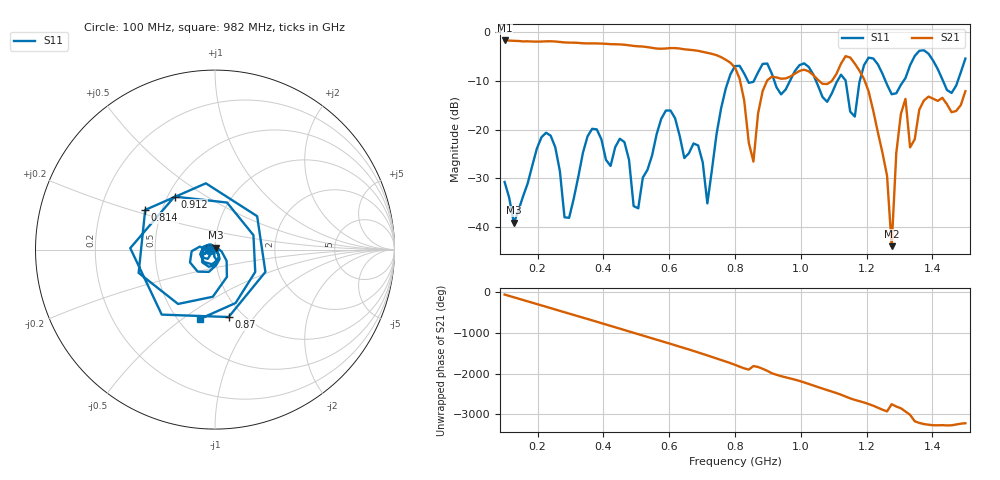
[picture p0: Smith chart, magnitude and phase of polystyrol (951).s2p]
! NanoVNA-App
! Date: 2025-09-25 15:37:17
! Start: 100MHz Stop: 1,5GHz Points: 101
! S-Parameter data: F S11 S21 S12 S22
# Hz S RI R 50
!  Frequency  S11_Real  S11_Imag  S21_Real  S21_Imag  S12_Real  S12_Imag  S22_Real  S22_Imag
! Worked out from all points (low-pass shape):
!   101 points, 100 MHz to 1.5 GHz, reference 50 ohm
!   highest |S21| = -1.80 dB at 100 MHz (marker M1); lowest = -43.8 dB at 1.276 GHz (marker M2)
!   |S21| within 3 dB of the highest: start of sweep to 743.2 MHz
!   lowest |S11| = -39.1 dB at 128 MHz (marker M3), VSWR 1.02, Z = 50.3 + j1.06 ohm
!   |S11| at or under -10 dB: start of sweep to 779.8 MHz; 1.046 GHz to 1.112 GHz (66.05 MHz wide, 6.12 % of centre); 1.257 GHz to 1.313 GHz (55.98 MHz wide, 4.36 % of centre)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
!   S12 and S22 are empty: the file has one direction only
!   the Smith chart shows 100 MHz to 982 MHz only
!   S11 on the Smith chart (normalised r, x): 100 MHz: 0.94, -0.01; 814 MHz: 0.40, +0.22; 870 MHz: 0.86, -0.76; 912 MHz: 0.54, +0.37; 982 MHz: 0.64, -0.58
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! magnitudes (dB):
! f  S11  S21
! 100 MHz  -30.7  -1.8
! 128 MHz  -39.1  -1.9
! 212 MHz  -21.6  -2.0
! 282 MHz  -37.9  -2.2
! 338 MHz  -24.7  -2.4
! 464 MHz  -22.6  -2.7
! 506 MHz  -36.1  -3.0
! 576 MHz  -17.8  -3.5
! 716 MHz  -35.1  -4.3
! 800 MHz  -7.0  -7.4
! 814 MHz  -7.0  -9.6
! 856 MHz  -10.3  -26.6
! 870 MHz  -8.3  -16.7
! 912 MHz  -8.6  -9.2
! 982 MHz  -8.0  -8.6
! 1.038 GHz  -8.8  -8.9
! 1.164 GHz  -17.4  -6.5
! 1.192 GHz  -6.8  -9.7
! 1.276 GHz  -12.8  -43.8
! 1.318 GHz  -9.5  -13.7
! 1.332 GHz  -6.9  -23.6
! 1.5 GHz  -5.5  -12.2
